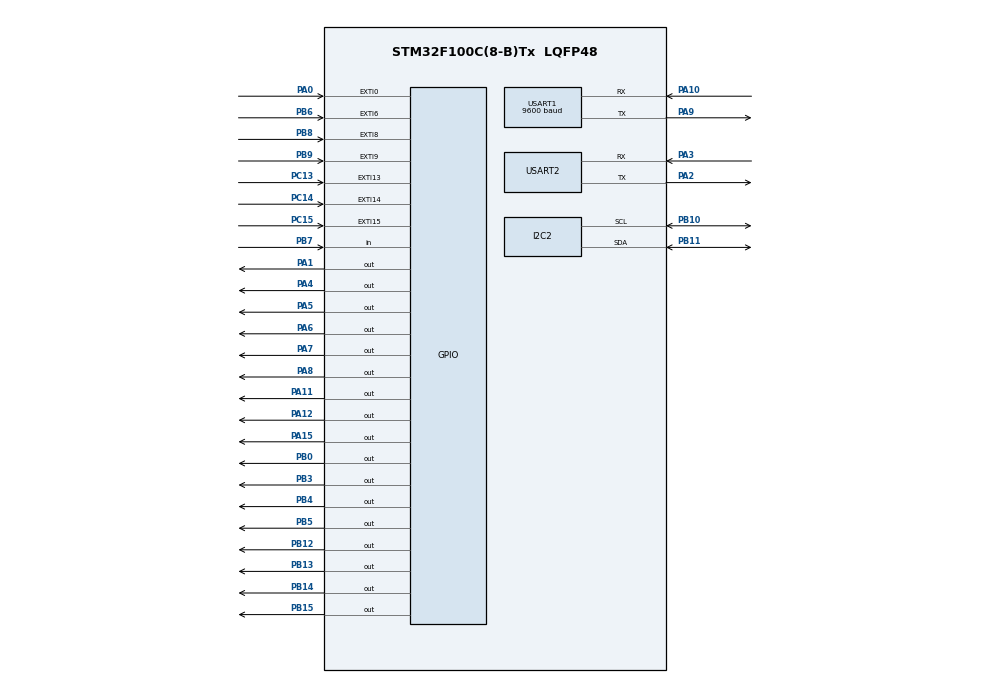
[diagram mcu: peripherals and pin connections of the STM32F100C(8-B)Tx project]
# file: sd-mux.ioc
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Dma.Request0=USART1_RX
Dma.USART1_RX.0.Direction=DMA_PERIPH_TO_MEMORY
Dma.USART1_RX.0.Instance=DMA1_Channel5
Dma.USART1_RX.0.MemDataAlignment=DMA_MDATAALIGN_BYTE
Dma.USART1_RX.0.MemInc=DMA_MINC_ENABLE
Dma.USART1_RX.0.Mode=DMA_CIRCULAR
Dma.USART1_RX.0.PeriphDataAlignment=DMA_PDATAALIGN_BYTE
Dma.USART1_RX.0.PeriphInc=DMA_PINC_DISABLE
Dma.USART1_RX.0.Priority=DMA_PRIORITY_MEDIUM
FREERTOS.Mutexes01=cmdMutex
FREERTOS.Queues01=uartQueue,8,32,NULL;i2cQueue,8,4,NULL;execQueue,16,exec_command_t,NULL;uartRespQueue,5,char,NULL;i2cRespQueue,5,char,NULL
FREERTOS.Tasks01=idleTask,-3,128,IdleTask,Default;execTask,1,128,StartExecTask,Default;uartTask,0,128,StartUartTask,Default;i2cTask,0,128,StartI2cTask,Default
FREERTOS.configTOTAL_HEAP_SIZE=6144
Mcu.Family=STM32F1
Mcu.Name=STM32F100C(8-B)Tx
Mcu.Package=LQFP48
NVIC.DMA1_Channel5_IRQn=true\:5\:0\:false\:false\:true\:true
NVIC.EXTI0_IRQn=true\:5\:0\:false\:false\:true\:true
NVIC.EXTI15_10_IRQn=true\:5\:0\:false\:false\:true\:true
NVIC.EXTI9_5_IRQn=true\:5\:0\:false\:false\:true\:true
NVIC.I2C2_ER_IRQn=true\:5\:0\:false\:false\:true\:true
NVIC.I2C2_EV_IRQn=true\:5\:0\:false\:false\:true\:true
NVIC.PriorityGroup=NVIC_PRIORITYGROUP_4
NVIC.TIM6_DAC_IRQn=true\:0\:0\:false\:false\:true\:false
NVIC.TimeBase=TIM6_DAC_IRQn
NVIC.TimeBaseIP=TIM6
NVIC.USART1_IRQn=true\:5\:0\:false\:false\:true\:true
PA0-WKUP.Signal=GPXTI0
PA1.Signal=GPIO_Output
PA10.Mode=Asynchronous
PA10.Signal=USART1_RX
PA11.Signal=GPIO_Output
PA12.Signal=GPIO_Output
PA13.Mode=Serial_Wire
PA13.Signal=SYS_JTMS-SWDIO
PA14.Mode=Serial_Wire
PA14.Signal=SYS_JTCK-SWCLK
PA15.Signal=GPIO_Output
PA2.Mode=Asynchronous
PA2.Signal=USART2_TX
PA3.Mode=Asynchronous
PA3.Signal=USART2_RX
PA4.Signal=GPIO_Output
PA5.Signal=GPIO_Output
PA6.Signal=GPIO_Output
PA7.Signal=GPIO_Output
PA8.Signal=GPIO_Output
PA9.Mode=Asynchronous
PA9.Signal=USART1_TX
PB0.Signal=GPIO_Output
PB10.Mode=I2C
PB10.Signal=I2C2_SCL
PB11.Mode=I2C
PB11.Signal=I2C2_SDA
PB12.Signal=GPIO_Output
PB13.Signal=GPIO_Output
PB14.Signal=GPIO_Output
PB15.Signal=GPIO_Output
PB3.Signal=GPIO_Output
PB4.Signal=GPIO_Output
PB5.Signal=GPIO_Output
PB6.Signal=GPXTI6
PB7.Signal=GPIO_Input
PB8.Signal=GPXTI8
PB9.Signal=GPXTI9
PC13-TAMPER-RTC.Signal=GPXTI13
PC14-OSC32_IN.Signal=GPXTI14
PC15-OSC32_OUT.Signal=GPXTI15
ProjectManager.HeapSize=0x200
ProjectManager.StackSize=0x400
ProjectManager.TargetToolchain=EWARM
RCC.APB1Freq_Value=8000000
RCC.APB2Freq_Value=8000000
USART1.BaudRate=9600
VP_FREERTOS_VS_ENABLE.Mode=Enabled
VP_SYS_VS_tim6.Mode=TIM6
board=sd-mux

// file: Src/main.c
/**
  ******************************************************************************
  * File Name          : main.c
  * Description        : Main program body
  ******************************************************************************
  *
  * Copyright (c) 2016 STMicroelectronics International N.V.
  * All rights reserved.
  *
  * Redistribution and use in source and binary forms, with or without
  * modification, are permitted, provided that the following conditions are met:
  *
  * 1. Redistribution of source code must retain the above copyright notice,
  *    this list of conditions and the following disclaimer.
  * 2. Redistributions in binary form must reproduce the above copyright notice,
  *    this list of conditions and the following disclaimer in the documentation
  *    and/or other materials provided with the distribution.
  * 3. Neither the name of STMicroelectronics nor the names of other
  *    contributors to this software may be used to endorse or promote products
  *    derived from this software without specific written permission.
  * 4. This software, including modifications and/or derivative works of this
  *    software, must execute solely and exclusively on microcontroller or
  *    microprocessor devices manufactured by or for STMicroelectronics.
  * 5. Redistribution and use of this software other than as permitted under
  *    this license is void and will automatically terminate your rights under
  *    this license.
  *
  * THIS SOFTWARE IS PROVIDED BY STMICROELECTRONICS AND CONTRIBUTORS "AS IS"
  * AND ANY EXPRESS, IMPLIED OR STATUTORY WARRANTIES, INCLUDING, BUT NOT
  * LIMITED TO, THE IMPLIED WARRANTIES OF MERCHANTABILITY, FITNESS FOR A
  * PARTICULAR PURPOSE AND NON-INFRINGEMENT OF THIRD PARTY INTELLECTUAL PROPERTY
  * RIGHTS ARE DISCLAIMED TO THE FULLEST EXTENT PERMITTED BY LAW. IN NO EVENT
  * SHALL STMICROELECTRONICS OR CONTRIBUTORS BE LIABLE FOR ANY DIRECT, INDIRECT,
  * INCIDENTAL, SPECIAL, EXEMPLARY, OR CONSEQUENTIAL DAMAGES (INCLUDING, BUT NOT
  * LIMITED TO, PROCUREMENT OF SUBSTITUTE GOODS OR SERVICES; LOSS OF USE, DATA,
  * OR PROFITS; OR BUSINESS INTERRUPTION) HOWEVER CAUSED AND ON ANY THEORY OF
  * LIABILITY, WHETHER IN CONTRACT, STRICT LIABILITY, OR TORT (INCLUDING
  * NEGLIGENCE OR OTHERWISE) ARISING IN ANY WAY OUT OF THE USE OF THIS SOFTWARE,
  * EVEN IF ADVISED OF THE POSSIBILITY OF SUCH DAMAGE.
  *
  ******************************************************************************
  */
#include "main.h"
#include "stm32f1xx_hal.h"
#include "cmsis_os.h"
#include "dma.h"
#include "i2c.h"
#include "usart.h"
#include "gpio.h"

/* USER CODE BEGIN Includes */
#include "uart_task.h"
/* USER CODE END Includes */

/* USER CODE BEGIN PV */
/* Private variables ---------------------------------------------------------*/

/* USER CODE END PV */

void SystemClock_Config(void);
void Error_Handler(void);
void MX_FREERTOS_Init(void);

/* USER CODE BEGIN PFP */
/* Private function prototypes -----------------------------------------------*/

/* USER CODE END PFP */

int main(void)
{

  /* MCU Configuration----------------------------------------------------------*/

  /* Reset of all peripherals, Initializes the Flash interface and the Systick. */
  HAL_Init();

  /* Configure the system clock */
  SystemClock_Config();

  /* Initialize all configured peripherals */
  MX_GPIO_Init();
  MX_DMA_Init();
  MX_I2C2_Init();
  MX_USART1_UART_Init();
  MX_USART2_UART_Init();

  /* USER CODE BEGIN 2 */
  LED1_OFF();
  LED2_OFF();
  CARD_RESET_ON();
  CARD_SWITCH_OFF();
  // start receive UART
  HAL_UART_Receive_DMA(&huart1, uartRxBuf, UART_RX_BUFF_SIZE);
  uartRxTailPtr = uartRxBuf;
  /* USER CODE END 2 */

  /* Call init function for freertos objects (in freertos.c) */
  MX_FREERTOS_Init();

  /* Start scheduler */
  osKernelStart();

  /* We should never get here as control is now taken by the scheduler */

  /* Infinite loop */
  /* USER CODE BEGIN WHILE */
  // Both LEDs enabled indicate ERROR happened
  LED1_ON();
  LED2_ON();
  while (1)
  {
  /* USER CODE END WHILE */

  }

}

/** System Clock Configuration
*/
void SystemClock_Config(void)
{

  RCC_OscInitTypeDef RCC_OscInitStruct;
  RCC_ClkInitTypeDef RCC_ClkInitStruct;

    /**Initializes the CPU, AHB and APB busses clocks
    */
  RCC_OscInitStruct.OscillatorType = RCC_OSCILLATORTYPE_HSI;
  RCC_OscInitStruct.HSIState = RCC_HSI_ON;
  RCC_OscInitStruct.HSICalibrationValue = 16;
  RCC_OscInitStruct.PLL.PLLState = RCC_PLL_NONE;
  if (HAL_RCC_OscConfig(&RCC_OscInitStruct) != HAL_OK)
  {
    Error_Handler();
  }

    /**Initializes the CPU, AHB and APB busses clocks
    */
  RCC_ClkInitStruct.ClockType = RCC_CLOCKTYPE_HCLK|RCC_CLOCKTYPE_SYSCLK
                              |RCC_CLOCKTYPE_PCLK1|RCC_CLOCKTYPE_PCLK2;
  RCC_ClkInitStruct.SYSCLKSource = RCC_SYSCLKSOURCE_HSI;
  RCC_ClkInitStruct.AHBCLKDivider = RCC_SYSCLK_DIV1;
  RCC_ClkInitStruct.APB1CLKDivider = RCC_HCLK_DIV1;
  RCC_ClkInitStruct.APB2CLKDivider = RCC_HCLK_DIV1;

  if (HAL_RCC_ClockConfig(&RCC_ClkInitStruct, FLASH_LATENCY_0) != HAL_OK)
  {
    Error_Handler();
  }

    /**Configure the Systick interrupt time
    */
  HAL_SYSTICK_Config(HAL_RCC_GetHCLKFreq()/1000);

    /**Configure the Systick
    */
  HAL_SYSTICK_CLKSourceConfig(SYSTICK_CLKSOURCE_HCLK);

  /* SysTick_IRQn interrupt configuration */
  HAL_NVIC_SetPriority(SysTick_IRQn, 15, 0);
}

void HAL_TIM_PeriodElapsedCallback(TIM_HandleTypeDef *htim)
{
  if (htim->Instance == TIM6) {
    HAL_IncTick();
  }
}

void Error_Handler(void)
{
  while(1)
  {
  }
}

/************************ (C) COPYRIGHT STMicroelectronics *****END OF FILE****/

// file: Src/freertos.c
/**
  ******************************************************************************
  * File Name          : freertos.c
  * Description        : Code for freertos applications
  ******************************************************************************
  *
  * Copyright (c) 2016 STMicroelectronics International N.V.
  * All rights reserved.
  *
  * Redistribution and use in source and binary forms, with or without
  * modification, are permitted, provided that the following conditions are met:
  *
  * 1. Redistribution of source code must retain the above copyright notice,
  *    this list of conditions and the following disclaimer.
  * 2. Redistributions in binary form must reproduce the above copyright notice,
  *    this list of conditions and the following disclaimer in the documentation
  *    and/or other materials provided with the distribution.
  * 3. Neither the name of STMicroelectronics nor the names of other
  *    contributors to this software may be used to endorse or promote products
  *    derived from this software without specific written permission.
  * 4. This software, including modifications and/or derivative works of this
  *    software, must execute solely and exclusively on microcontroller or
  *    microprocessor devices manufactured by or for STMicroelectronics.
  * 5. Redistribution and use of this software other than as permitted under
  *    this license is void and will automatically terminate your rights under
  *    this license.
  *
  * THIS SOFTWARE IS PROVIDED BY STMICROELECTRONICS AND CONTRIBUTORS "AS IS"
  * AND ANY EXPRESS, IMPLIED OR STATUTORY WARRANTIES, INCLUDING, BUT NOT
  * LIMITED TO, THE IMPLIED WARRANTIES OF MERCHANTABILITY, FITNESS FOR A
  * PARTICULAR PURPOSE AND NON-INFRINGEMENT OF THIRD PARTY INTELLECTUAL PROPERTY
  * RIGHTS ARE DISCLAIMED TO THE FULLEST EXTENT PERMITTED BY LAW. IN NO EVENT
  * SHALL STMICROELECTRONICS OR CONTRIBUTORS BE LIABLE FOR ANY DIRECT, INDIRECT,
  * INCIDENTAL, SPECIAL, EXEMPLARY, OR CONSEQUENTIAL DAMAGES (INCLUDING, BUT NOT
  * LIMITED TO, PROCUREMENT OF SUBSTITUTE GOODS OR SERVICES; LOSS OF USE, DATA,
  * OR PROFITS; OR BUSINESS INTERRUPTION) HOWEVER CAUSED AND ON ANY THEORY OF
  * LIABILITY, WHETHER IN CONTRACT, STRICT LIABILITY, OR TORT (INCLUDING
  * NEGLIGENCE OR OTHERWISE) ARISING IN ANY WAY OUT OF THE USE OF THIS SOFTWARE,
  * EVEN IF ADVISED OF THE POSSIBILITY OF SUCH DAMAGE.
  *
  ******************************************************************************
  */

#include "FreeRTOS.h"
#include "task.h"
#include "cmsis_os.h"

/* USER CODE BEGIN Includes */
#include "gpio.h"
#include "exec_task.h"
#include "uart_task.h"
/* USER CODE END Includes */

osThreadId idleTaskHandle;
osThreadId execTaskHandle;
osThreadId uartTaskHandle;
osThreadId i2cTaskHandle;
osMessageQId uartQueueHandle;
osMessageQId i2cQueueHandle;
osMessageQId execQueueHandle;
osMessageQId uartRespQueueHandle;
osMessageQId i2cRespQueueHandle;
osMutexId cmdMutexHandle;

void IdleTask(void const * argument);
void StartExecTask(void const * argument);
void StartUartTask(void const * argument);
void StartI2cTask(void const * argument);

void MX_FREERTOS_Init(void); /* (MISRA C 2004 rule 8.1) */

/* Hook prototypes */

/* Init FreeRTOS */

void MX_FREERTOS_Init(void) {

  /* Create the mutex(es) */
  /* definition and creation of cmdMutex */
  osMutexDef(cmdMutex);
  cmdMutexHandle = osMutexCreate(osMutex(cmdMutex));

  /* Create the thread(s) */
  /* definition and creation of idleTask */
  osThreadDef(idleTask, IdleTask, osPriorityIdle, 0, 128);
  idleTaskHandle = osThreadCreate(osThread(idleTask), NULL);

  /* definition and creation of execTask */
  osThreadDef(execTask, StartExecTask, osPriorityAboveNormal, 0, 128);
  execTaskHandle = osThreadCreate(osThread(execTask), NULL);

  /* definition and creation of uartTask */
  osThreadDef(uartTask, StartUartTask, osPriorityNormal, 0, 128);
  uartTaskHandle = osThreadCreate(osThread(uartTask), NULL);

  /* definition and creation of i2cTask */
  osThreadDef(i2cTask, StartI2cTask, osPriorityNormal, 0, 128);
  i2cTaskHandle = osThreadCreate(osThread(i2cTask), NULL);

  /* Create the queue(s) */
  /* definition and creation of uartQueue */
  osMessageQDef(uartQueue, 8, 32);
  uartQueueHandle = osMessageCreate(osMessageQ(uartQueue), NULL);

  /* definition and creation of i2cQueue */
  osMessageQDef(i2cQueue, 8, 4);
  i2cQueueHandle = osMessageCreate(osMessageQ(i2cQueue), NULL);

  /* definition and creation of execQueue */
  osMessageQDef(execQueue, 16, exec_command_t);
  execQueueHandle = osMessageCreate(osMessageQ(execQueue), NULL);

  /* definition and creation of uartRespQueue */
  osMessageQDef(uartRespQueue, 5, char);
  uartRespQueueHandle = osMessageCreate(osMessageQ(uartRespQueue), NULL);

  /* definition and creation of i2cRespQueue */
  osMessageQDef(i2cRespQueue, 5, char);
  i2cRespQueueHandle = osMessageCreate(osMessageQ(i2cRespQueue), NULL);

}

/* IdleTask function */
void IdleTask(void const * argument)
{

  /* USER CODE BEGIN IdleTask */
  char flag = 0;
  /* Infinite loop */
  for(;;)
  {
    // Delay 1s
    osDelay(1000);
    if (flag) {
      LED1_ON();
      LED2_OFF();
    } else {
      LED1_OFF();
      LED2_ON();
    }
    flag = !flag;
  }
  /* USER CODE END IdleTask */
}

/* StartExecTask function */
void StartExecTask(void const * argument)
{
  /* USER CODE BEGIN StartExecTask */
  /* Infinite loop */
  for(;;)
  {
    execTaskExecution();
  }
  /* USER CODE END StartExecTask */
}

/* StartUartTask function */
void StartUartTask(void const * argument)
{
  /* USER CODE BEGIN StartUartTask */
  /* Infinite loop */
  for(;;)
  {
    uartTaskExecution();
  }
  /* USER CODE END StartUartTask */
}

/* StartI2cTask function */
void StartI2cTask(void const * argument)
{
  /* USER CODE BEGIN StartI2cTask */
  /* Infinite loop */
  for(;;)
  {
    osDelay(1000);
  }
  /* USER CODE END StartI2cTask */
}

/************************ (C) COPYRIGHT STMicroelectronics *****END OF FILE****/
